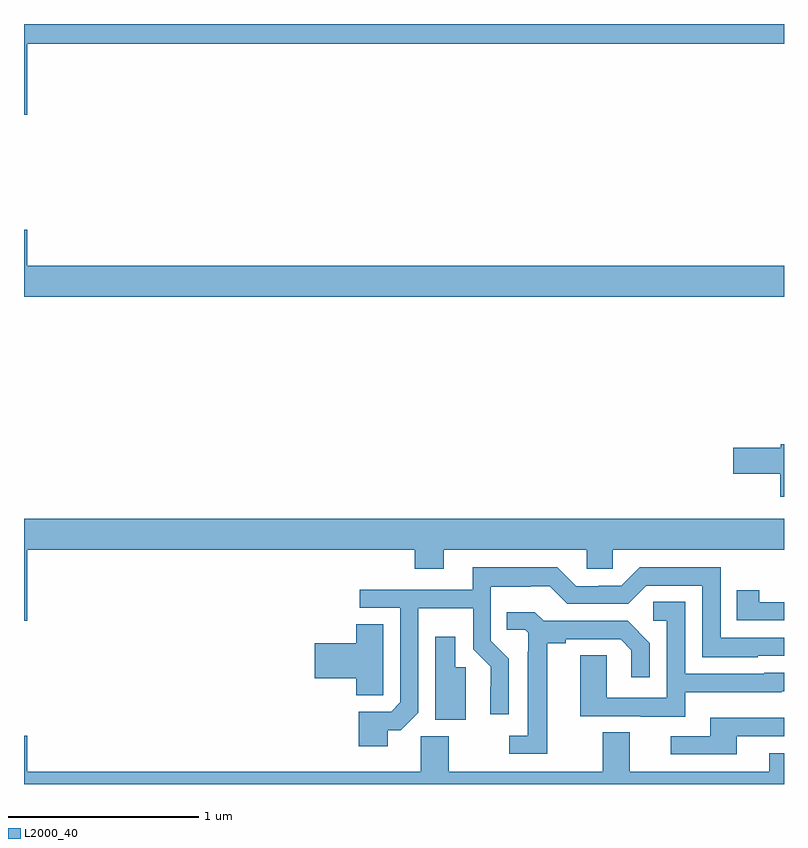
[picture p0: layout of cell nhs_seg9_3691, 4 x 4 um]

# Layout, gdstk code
import gdstk
lib = gdstk.Library(unit=1e-6, precision=1e-09)
def P(c, l, *ps):  # polygons
    for p in ps: c.add(gdstk.Polygon(p, *l))
L2000_40 = (2000, 40)

nhs_seg9_3691 = lib.new_cell('nhs_seg9_3691')
P(nhs_seg9_3691, L2000_40, [(321.016,1220.396),(325,1220.396),(325,1220.5),(321,1220.5),(321,1220.022),(321.016,1220.022)],
  [(325,1219.228),(321.016,1219.228),(321.016,1219.417),(321,1219.417),(321,1219.064),(325,1219.064)],
  [(325,1218.287),(324.984,1218.287),(324.984,1218.269),(324.732,1218.269),(324.732,1218.134),(324.98,1218.134),(324.98,1218.011),(325,1218.011)],
  [(321.016,1217.732),(323.057,1217.732),(323.057,1217.633),(323.209,1217.633),(323.209,1217.732),(323.961,1217.732),(323.961,1217.634),(324.099,1217.634),(324.099,1217.732),(325,1217.732),(325,1217.896),(321,1217.896),(321,1217.358),(321.016,1217.358)],
  [(322.915,1216.783),(322.983,1216.783),(323.076,1216.875),(323.076,1217.426),(323.364,1217.426),(323.364,1217.21),(323.456,1217.118),(323.456,1217.012),(323.454,1217.012),(323.454,1216.866),(323.55,1216.866),(323.55,1217.16),(323.457,1217.253),(323.457,1217.537),(323.666,1217.537),(323.666,1217.541),(323.766,1217.541),(323.859,1217.448),(324.18,1217.448),(324.276,1217.544),(324.57,1217.544),(324.57,1217.168),(324.861,1217.168),(324.861,1217.175),(325,1217.175),(325,1217.271),(324.666,1217.271),(324.666,1217.64),(324.24,1217.64),(324.144,1217.544),(324.024,1217.544),(324.024,1217.541),(323.907,1217.541),(323.807,1217.641),(323.363,1217.641),(323.363,1217.523),(322.767,1217.523),(322.767,1217.427),(322.98,1217.427),(322.98,1216.929),(322.932,1216.881),(322.763,1216.881),(322.763,1216.698),(322.915,1216.698)],
  [(325,1217.457),(324.87,1217.457),(324.87,1217.521),(324.751,1217.521),(324.751,1217.361),(325,1217.361)],
  [(324.481,1216.982),(324.987,1216.982),(324.987,1216.989),(325,1216.989),(325,1217.085),(324.897,1217.085),(324.897,1217.079),(324.48,1217.079),(324.48,1217.459),(324.312,1217.459),(324.312,1217.358),(324.384,1217.358),(324.384,1216.953),(324.066,1216.953),(324.066,1217.177),(323.927,1217.177),(323.927,1216.857),(324.245,1216.857),(324.245,1216.853),(324.481,1216.853)],
  [(323.755,1217.242),(323.851,1217.242),(323.851,1217.262),(324.14,1217.262),(324.197,1217.205),(324.197,1217.061),(324.294,1217.061),(324.294,1217.242),(324.178,1217.358),(323.736,1217.358),(323.688,1217.405),(323.542,1217.405),(323.542,1217.313),(323.637,1217.313),(323.655,1217.295),(323.655,1217.195),(323.651,1217.195),(323.651,1216.755),(323.553,1216.755),(323.553,1216.659),(323.755,1216.659)],
  [(322.89,1217.074),(322.891,1217.074),(322.891,1217.342),(322.748,1217.342),(322.748,1217.24),(322.53,1217.24),(322.53,1217.057),(322.748,1217.057),(322.748,1216.966),(322.89,1216.966)],
  [(323.326,1217.115),(323.269,1217.115),(323.269,1217.275),(323.165,1217.275),(323.165,1216.837),(323.326,1216.837)],
  [(324.751,1216.752),(325,1216.752),(325,1216.849),(324.611,1216.849),(324.611,1216.752),(324.405,1216.752),(324.405,1216.656),(324.751,1216.656)],
  [(321.016,1216.753),(321,1216.753),(321,1216.5),(325,1216.5),(325,1216.663),(324.923,1216.663),(324.923,1216.564),(324.187,1216.564),(324.187,1216.772),(324.047,1216.772),(324.047,1216.564),(323.235,1216.564),(323.235,1216.752),(323.088,1216.752),(323.088,1216.564),(321.016,1216.564)])

lib.write_gds('nhs_seg9_3691.gds')
